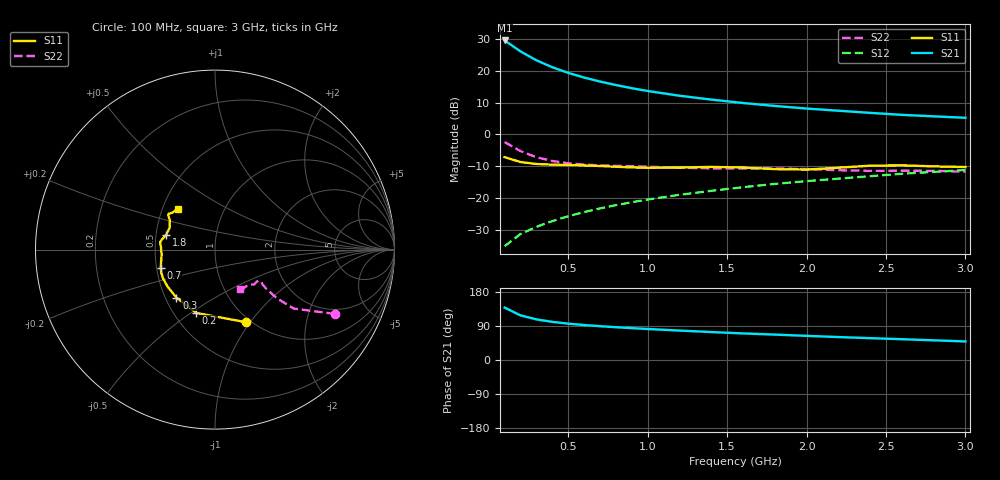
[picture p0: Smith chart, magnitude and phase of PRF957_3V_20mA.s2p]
! Philips part #:  PRF957  Date:  Nov 1998
! Bias condition:  Vce=3V, Ic=20mA
#  MHz  S  MA  R 50
! Freq  S11  S21  S12  S22
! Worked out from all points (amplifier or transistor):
!   20 points, 100 MHz to 3 GHz, reference 50 ohm
!   highest |S21| = 29.6 dB at 100 MHz (marker M1)
!   |S21| within 3 dB of that: start of sweep to 187 MHz
!   unconditionally stable (mu >= 1): 759 MHz to end of sweep
!   at 400 MHz: K = 0.89, MSG = 24.2 dB, |S12| = -27.3 dB
!   at 1.2 GHz: K = 1.05, MAG = 14.3 dB, |S12| = -19.0 dB
!   at 3 GHz: K = 1.03, MAG = 7.1 dB, |S12| = -11.2 dB
!   S11 on the Smith chart (normalised r, x): 100 MHz: 0.95, -0.95; 200 MHz: 0.64, -0.52; 300 MHz: 0.57, -0.35; 700 MHz: 0.53, -0.12; 1.8 GHz: 0.56, +0.10; 3 GHz: 0.60, +0.30
100  0.4396 -66.9  30.13 138.3  0.01748 68.9  0.7594 -28.2
200  0.3681 -106.5  20.25 117.8  0.02714 65.4  0.5468 -36.9
300  0.3431 -128.8  14.69 107.2  0.03524 67.0  0.4388 -38.1
400  0.3351 -142.1  11.42 100.6  0.04338 69.1  0.3824 -37.7
500  0.3311 -150.7  9.313 95.9  0.05167 71.0  0.3521 -37.1
600  0.3262 -156.6  7.864 92.3  0.06012 72.4  0.3354 -36.6
700  0.3191 -161.3  6.801 89.2  0.06867 73.4  0.3263 -36.1
800  0.3108 -165.7  5.991 86.5  0.07719 74.2  0.3208 -35.6
900  0.303 -170.3  5.347 84.0  0.08593 74.8  0.3159 -35.1
1000  0.2987 -174.9  4.834 81.8  0.09465 75.2  0.3109 -34.8
1200  0.3016 177.3  4.068 77.7  0.1123 75.4  0.2999 -35.4
1400  0.3086 172.5  3.539 73.7  0.1298 75.3  0.2929 -37.8
1600  0.3019 169.3  3.127 70.1  0.148 75.1  0.2928 -40.2
1800  0.2848 163.7  2.81 67.0  0.1667 74.5  0.2925 -41.6
2000  0.2803 154.7  2.559 63.7  0.1844 74.0  0.2855 -42.9
2200  0.2998 147.0  2.364 60.5  0.2018 73.4  0.274 -45.7
2400  0.3225 143.9  2.187 57.7  0.2205 72.5  0.2678 -50.0
2600  0.3272 142.5  2.035 54.9  0.2409 71.4  0.2692 -53.8
2800  0.3147 139.3  1.928 51.9  0.2577 70.9  0.2684 -56.0
3000  0.3076 132.1  1.829 49.0  0.2758 70.2  0.2599 -58.2
